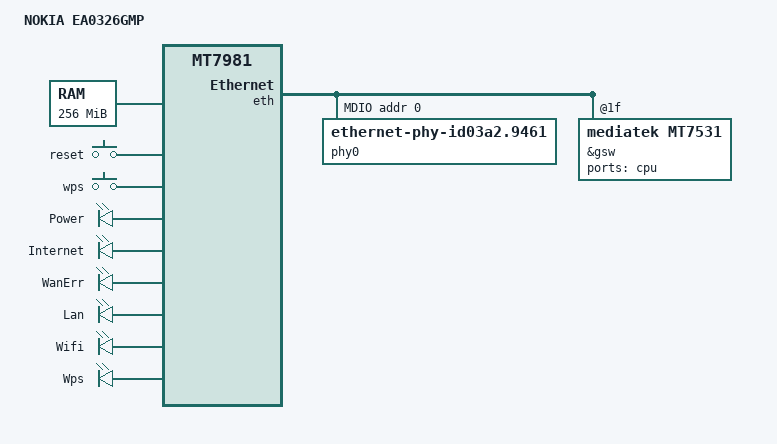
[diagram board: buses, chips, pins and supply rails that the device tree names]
// SPDX-License-Identifier: GPL-2.0-or-later OR MIT
/*
 * Copyright (C) 2023 Tianling Shen <cnsztl@immortalwrt.org>
 */

/dts-v1/;
#include <dt-bindings/gpio/gpio.h>
#include <dt-bindings/input/input.h>

#include "mt7981.dtsi"

/ {
	model = "NOKIA EA0326GMP";
	compatible = "nokia,ea0326gmp", "mediatek,mt7981";

	aliases {
		led-boot = &power_led;
		led-failsafe = &power_led;
		led-running = &lan_led;
		led-upgrade = &lan_led;
	};

	chosen {
		bootargs = "console=ttyS0,115200n1 loglevel=8 earlycon=uart8250,mmio32,0x11002000";
	};

	memory {
		reg = <0 0x40000000 0 0x10000000>;
	};

	gpio-keys {
		compatible = "gpio-keys";

		reset {
			label = "reset";
			linux,code = <0x198>;
			gpios = <0x0d 0x01 0x01>;
		};

		wps {
			label = "wps";
			linux,code = <0x211>;
			gpios = <0x0d 0x00 0x01>;
		};
	};

	leds {
		compatible = "gpio-leds";

		power_led: led0 {
			label = "Power";
			gpios = <0x0d 0x04 0x01>;
			function = "power";
			default-state = "on";
		};

		internet_led: led1 {
			label = "Internet";
			gpios = <0x0d 0x05 0x01>;
			function = "wan";
			default-state = "off";
		};

		wan_led: led2 {
			label = "WanErr";
			gpios = <0x0d 0x06 0x01>;
			default-state = "off";
		};

		lan_led: led3 {
			label = "Lan";
			gpios = <0x0d 0x07 0x01>;
			function = "lan";
			default-state = "off";
		};

		wifi_led: led4 {
			label = "Wifi";
			gpios = <0x0d 0x08 0x01>;
			function = "wlan";
			default-state = "off";
		};

		wps_led: led5 {
			label = "Wps";
			gpios = <0x0d 0x09 0x01>;
			function = "wps";
			default-state = "off";
		};
	};

	gsw: gsw@0 {
		compatible = "mediatek,mt753x";
		mediatek,ethsys = <&ethsys>;
		#address-cells = <1>;
		#size-cells = <0>;
	};

	nmbm_spim_nand {
		compatible = "generic,nmbm";

		#address-cells = <1>;
		#size-cells = <1>;

		lower-mtd-device = <&spi_nand>;
		forced-create;

		partitions {
			compatible = "fixed-partitions";
			#address-cells = <1>;
			#size-cells = <1>;

			partition@0 {
				label = "BL2";
				reg = <0x00 0x100000>;
				read-only;
			};

			partition@100000 {
				label = "u-boot-env";
				reg = <0x100000 0x80000>;
			};

			partition@180000 {
				label = "Factory";
				reg = <0x180000 0x200000>;
			};

			partition@380000 {
				label = "FIP";
				reg = <0x380000 0x200000>;
			};

			partition@580000 {
				label = "Config";
				reg = <0x580000 0x200000>;
			};

			partition@780000 {
				label = "Config2";
				reg = <0x780000 0x200000>;
			};

			partition@980000 {
				label = "Aos-net";
				reg = <0x980000 0xc00000>;
			};

			partition@1580000 {
				label = "bvasPlugin";
				reg = <0x1580000 0xc00000>;
			};

			partition@2180000 {
				label = "ubi";
				reg = <0x2180000 0x5680000>;
			};
		};
	};
};

&eth {
	status = "okay";

	gmac0: mac@0 {
		compatible = "mediatek,eth-mac";
		reg = <0>;
		phy-mode = "2500base-x";
		phandle = <0x14>;


		fixed-link {
			speed = <2500>;
			full-duplex;
			pause;
		};
	};

	gmac1: mac@1 {
			compatible = "mediatek,eth-mac";
			reg = <1>;
			phy-mode = "gmii";
			phy-handle = <0x12>;
	};

    mdio: mdio-bus {
            #address-cells = <1>;
            #size-cells = <0>;

            phy0: ethernet-phy@0 {
                    compatible = "ethernet-phy-id03a2.9461";
                    reg = <0>;
                    phy-mode = "gmii";
                    nvmem-cells = <0x13>;
                    nvmem-cell-names = "phy-cal-data";
					phandle = <0x12>;
                };
};

&gsw {
	    compatible = "mediatek,mt7531";
		reg = <0x1f>;
		reset-gpios = <0x0d 0x27 0x00>;

	port@6 {
		reg = <0x06>;
		label = "cpu";
		ethernet = <0x14>;
		phy-mode = "2500base-x";

		fixed-link {
		    speed = <0x9c4>;
			full-duplex;
			pause;
		};
	};
};

&hnat {
	mtketh-wan = "eth1";
	mtketh-lan = "eth0";
	mtketh-max-gmac = <2>;
	status = "okay";
};

&spi0 {
	pinctrl-names = "default";
	pinctrl-0 = <&spi0_flash_pins>;
	status = "okay";

	spi_nand: spi_nand@0 {
		#address-cells = <1>;
		#size-cells = <1>;
		compatible = "spi-nand";
		reg = <0>;
		spi-max-frequency = <52000000>;
		spi-tx-bus-width = <4>;
		spi-rx-bus-width = <4>;
	};
};

&pio {
	spi0_flash_pins: spi0-pins {
		mux {
			function = "spi";
			groups = "spi0", "spi0_wp_hold";
		};

		conf-pu {
			pins = "SPI0_CS", "SPI0_HOLD", "SPI0_WP";
			drive-strength = <MTK_DRIVE_8mA>;
			bias-pull-up = <MTK_PUPD_SET_R1R0_11>;
		};

		conf-pd {
			pins = "SPI0_CLK", "SPI0_MOSI", "SPI0_MISO";
			drive-strength = <MTK_DRIVE_8mA>;
			bias-pull-down = <MTK_PUPD_SET_R1R0_11>;
		};
	};
};

&uart0 {
	status = "okay";
};

&watchdog {
	status = "okay";
};
